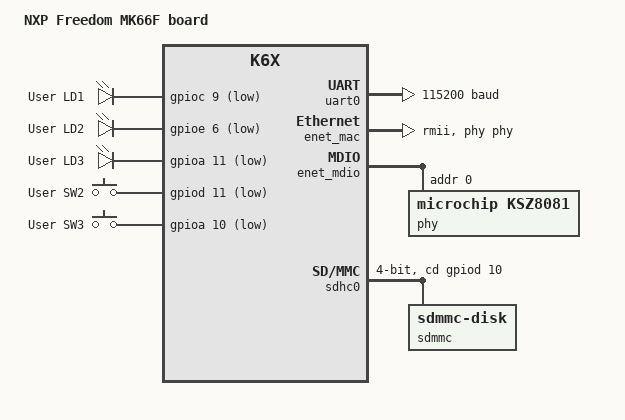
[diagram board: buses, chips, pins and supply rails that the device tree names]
/* SPDX-License-Identifier: Apache-2.0 */

/dts-v1/;

#include <nxp/kinetis/nxp_k66.dtsi>
#include "frdm_k66f-pinctrl.dtsi"
#include <freq.h>
#include <zephyr/dt-bindings/input/input-event-codes.h>

/ {
	model = "NXP Freedom MK66F board";
	compatible = "nxp,mk66f18", "nxp,k66f", "nxp,k6x";

	aliases {
		led0 = &red_led;
		led1 = &green_led;
		led2 = &blue_led;
		sdhc0 = &sdhc0;
		sw0 = &user_button_2;
		sw1 = &user_button_3;
		mcuboot-button0 = &user_button_2;
	};

	chosen {
		zephyr,sram = &sram0;
		zephyr,flash = &flash0;
		zephyr,code-partition = &slot0_partition;
		zephyr,console = &uart0;
		zephyr,shell-uart = &uart0;
		zephyr,uart-pipe = &uart0;
		zephyr,uart-mcumgr = &uart0;
	};

	leds {
		compatible = "gpio-leds";

		red_led: led_0 {
			gpios = <&gpioc 9 GPIO_ACTIVE_LOW>;
			label = "User LD1";
		};

		green_led: led_1 {
			gpios = <&gpioe 6 GPIO_ACTIVE_LOW>;
			label = "User LD2";
		};

		blue_led: led_2 {
			gpios = <&gpioa 11 GPIO_ACTIVE_LOW>;
			label = "User LD3";
		};
	};

	gpio_keys {
		compatible = "gpio-keys";

		user_button_2: button_0 {
			label = "User SW2";
			gpios = <&gpiod 11 (GPIO_ACTIVE_LOW | GPIO_PULL_UP)>;
			zephyr,code = <INPUT_KEY_0>;
		};

		user_button_3: button_1 {
			label = "User SW3";
			gpios = <&gpioa 10 (GPIO_ACTIVE_LOW | GPIO_PULL_UP)>;
			zephyr,code = <INPUT_KEY_1>;
		};
	};
};

&sim {
	pllfll-select = <KINETIS_SIM_PLLFLLSEL_MCGPLLCLK>;
	er32k-select = <KINETIS_SIM_ER32KSEL_RTC>;
};

&cpu0 {
	clock-frequency = <DT_FREQ_M(180)>;
};

&uart0 {
	status = "okay";
	current-speed = <115200>;
	pinctrl-0 = <&uart0_default>;
	pinctrl-names = "default";
};

&gpioa {
	status = "okay";
};

&gpiob {
	status = "okay";
};

&gpioc {
	status = "okay";
};

&gpiod {
	status = "okay";
};

&gpioe {
	status = "okay";
};

&flash0 {
	partitions {
		compatible = "fixed-partitions";
		#address-cells = <1>;
		#size-cells = <1>;

		boot_partition: partition@0 {
			label = "mcuboot";
			reg = <0x00000000 DT_SIZE_K(64)>;
			read-only;
		};

		slot0_partition: partition@10000 {
			label = "image-0";
			reg = <0x00010000 DT_SIZE_K(932)>;
		};

		slot1_partition: partition@F9000 {
			label = "image-1";
			reg = <0x000F9000 DT_SIZE_K(932)>;
		};

		storage_partition: partition@1E2000 {
			label = "storage";
			reg = <0x001E2000 DT_SIZE_K(120)>;
		};
	};
};

&enet_mac {
	status = "okay";
	pinctrl-0 = <&enet_default>;
	pinctrl-names = "default";
	phy-connection-type = "rmii";
	phy-handle = <&phy>;
	zephyr,random-mac-address;
};

&enet_mdio {
	status = "okay";
	pinctrl-0 = <&mdio_default>;
	pinctrl-names = "default";

	phy: phy@0 {
		compatible = "microchip,ksz8081";
		reg = <0>;
		status = "okay";
		microchip,interface-type = "rmii-25MHz";
	};
};

&edma0 {
	status = "okay";
};

&sdhc0 {
	status = "okay";
	bus-width = <4>;
	max-bus-freq = <DT_FREQ_M(6)>;
	power-delay-ms = <1000>;
	cd-gpios = <&gpiod 10 (GPIO_ACTIVE_HIGH | GPIO_PULL_DOWN)>;
	pinctrl-0 = <&sdhc0_default>;
	pinctrl-names = "default";

	sdmmc {
		compatible = "zephyr,sdmmc-disk";
		disk-name = "SD";
		status = "okay";
	};
};
